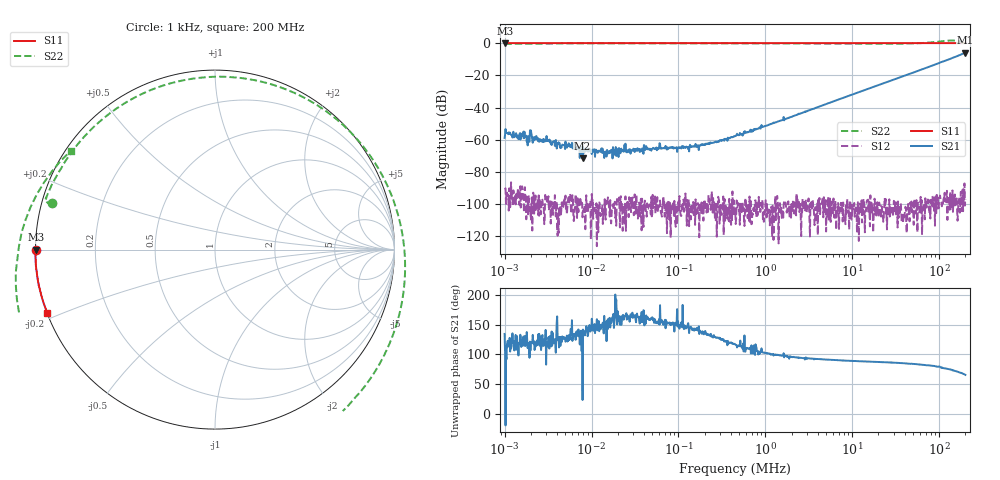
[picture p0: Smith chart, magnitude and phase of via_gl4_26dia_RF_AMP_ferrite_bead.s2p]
! ListType=Log
# MHZ S RI R 50
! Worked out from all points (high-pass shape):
!   1000 points, 1 kHz to 200 MHz, reference 50 ohm
!   highest |S21| = -5.93 dB at 200 MHz (marker M1); lowest = -71.6 dB at 7.884 kHz (marker M2)
!   |S21| within 3 dB of the highest: 146.1 MHz to end of sweep
!   lowest |S11| = 0.0 dB at 1.012 kHz (marker M3)
!   |S11| at or under -10 dB: nowhere
!   |S22| runs from -0.5 to 1.7 dB; largest |S21 - S12| = 0.51
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0.001  -0.9988 -0.000642  -0.000799 0.000816  -1.15e-05 -2.99e-05  -0.9089 0.26
0.0010123  -0.9987 -0.000991  -0.000336 0.00142  1.21e-05 -2.87e-05  -0.9095 0.2603
0.0018197  -0.9993 -0.000774  -0.000648 0.000951  -1.5e-05 -4e-06  -0.9231 0.2573
0.0020815  -0.9995 -0.00103  -0.000504 0.000898  3e-07 -1.5e-06  -0.9266 0.2585
0.0076941  -1 -0.000345  -0.000163 0.00059  -2.1e-06 8.4e-06  -0.9422 0.2759
0.0078844  -1 -0.000313  0.000241 0.000106  -3.5e-06 -1.8e-06  -0.9423 0.276
0.014524  -1 -0.000155  -0.000345 0.000261  1.8e-06 2.8e-06  -0.9427 0.2815
0.0584804  -1 -0.000114  -0.000511 0.000242  1.1e-06 -7.5e-06  -0.9406 0.2882
0.1693017  -1 -0.000332  -0.000506 0.000434  -9.3e-06 -2.6e-06  -0.9393 0.2922
0.4499541  -1.001 -0.000898  -0.000583 0.00116  1.8e-06 7.1e-06  -0.9349 0.303
3.419952  -1.001 -0.0067  -0.00045 0.00882  -1.8e-06 -7.2e-06  -0.8867 0.4028
12.03851  -1.001 -0.0228  0.000716 0.0304  -7.5e-06 -3e-07  -0.7122 0.6466
26.31347  -1 -0.0492  0.00375 0.065  3.6e-06 -3.5e-06  -0.3118 0.9064
50.9003  -0.9974 -0.094  0.0126 0.1227  -1e-07 -2.3e-06  0.4925 0.8486
64.99008  -0.9948 -0.1196  0.0199 0.1558  6e-06 -3.9e-06  0.8567 0.5339
81.97236  -0.9907 -0.1501  0.0304 0.1948  5.3e-06 -7.1e-06  1.057 -0.0223
103.3922  -0.9839 -0.1882  0.0497 0.2483  -9.6e-06 -1.12e-05  0.8402 -0.7545
128.8255  -0.9737 -0.2327  0.0772 0.3014  -1.25e-05 -1.01e-05  0.0311 -1.195
145.5678  -0.9653 -0.2622  0.1012 0.3417  5.8e-06 -1.22e-05  -0.5687 -1.06
164.4859  -0.9561 -0.294  0.1328 0.3827  4.6e-06 -3.3e-06  -1.028 -0.5582
179.1732  -0.9473 -0.3179  0.1573 0.4146  -1.87e-05 -8.8e-06  -1.102 -0.0581
200  -0.9344 -0.3532  0.2066 0.4609  -1.29e-05 -6.6e-06  -0.8026 0.5506
